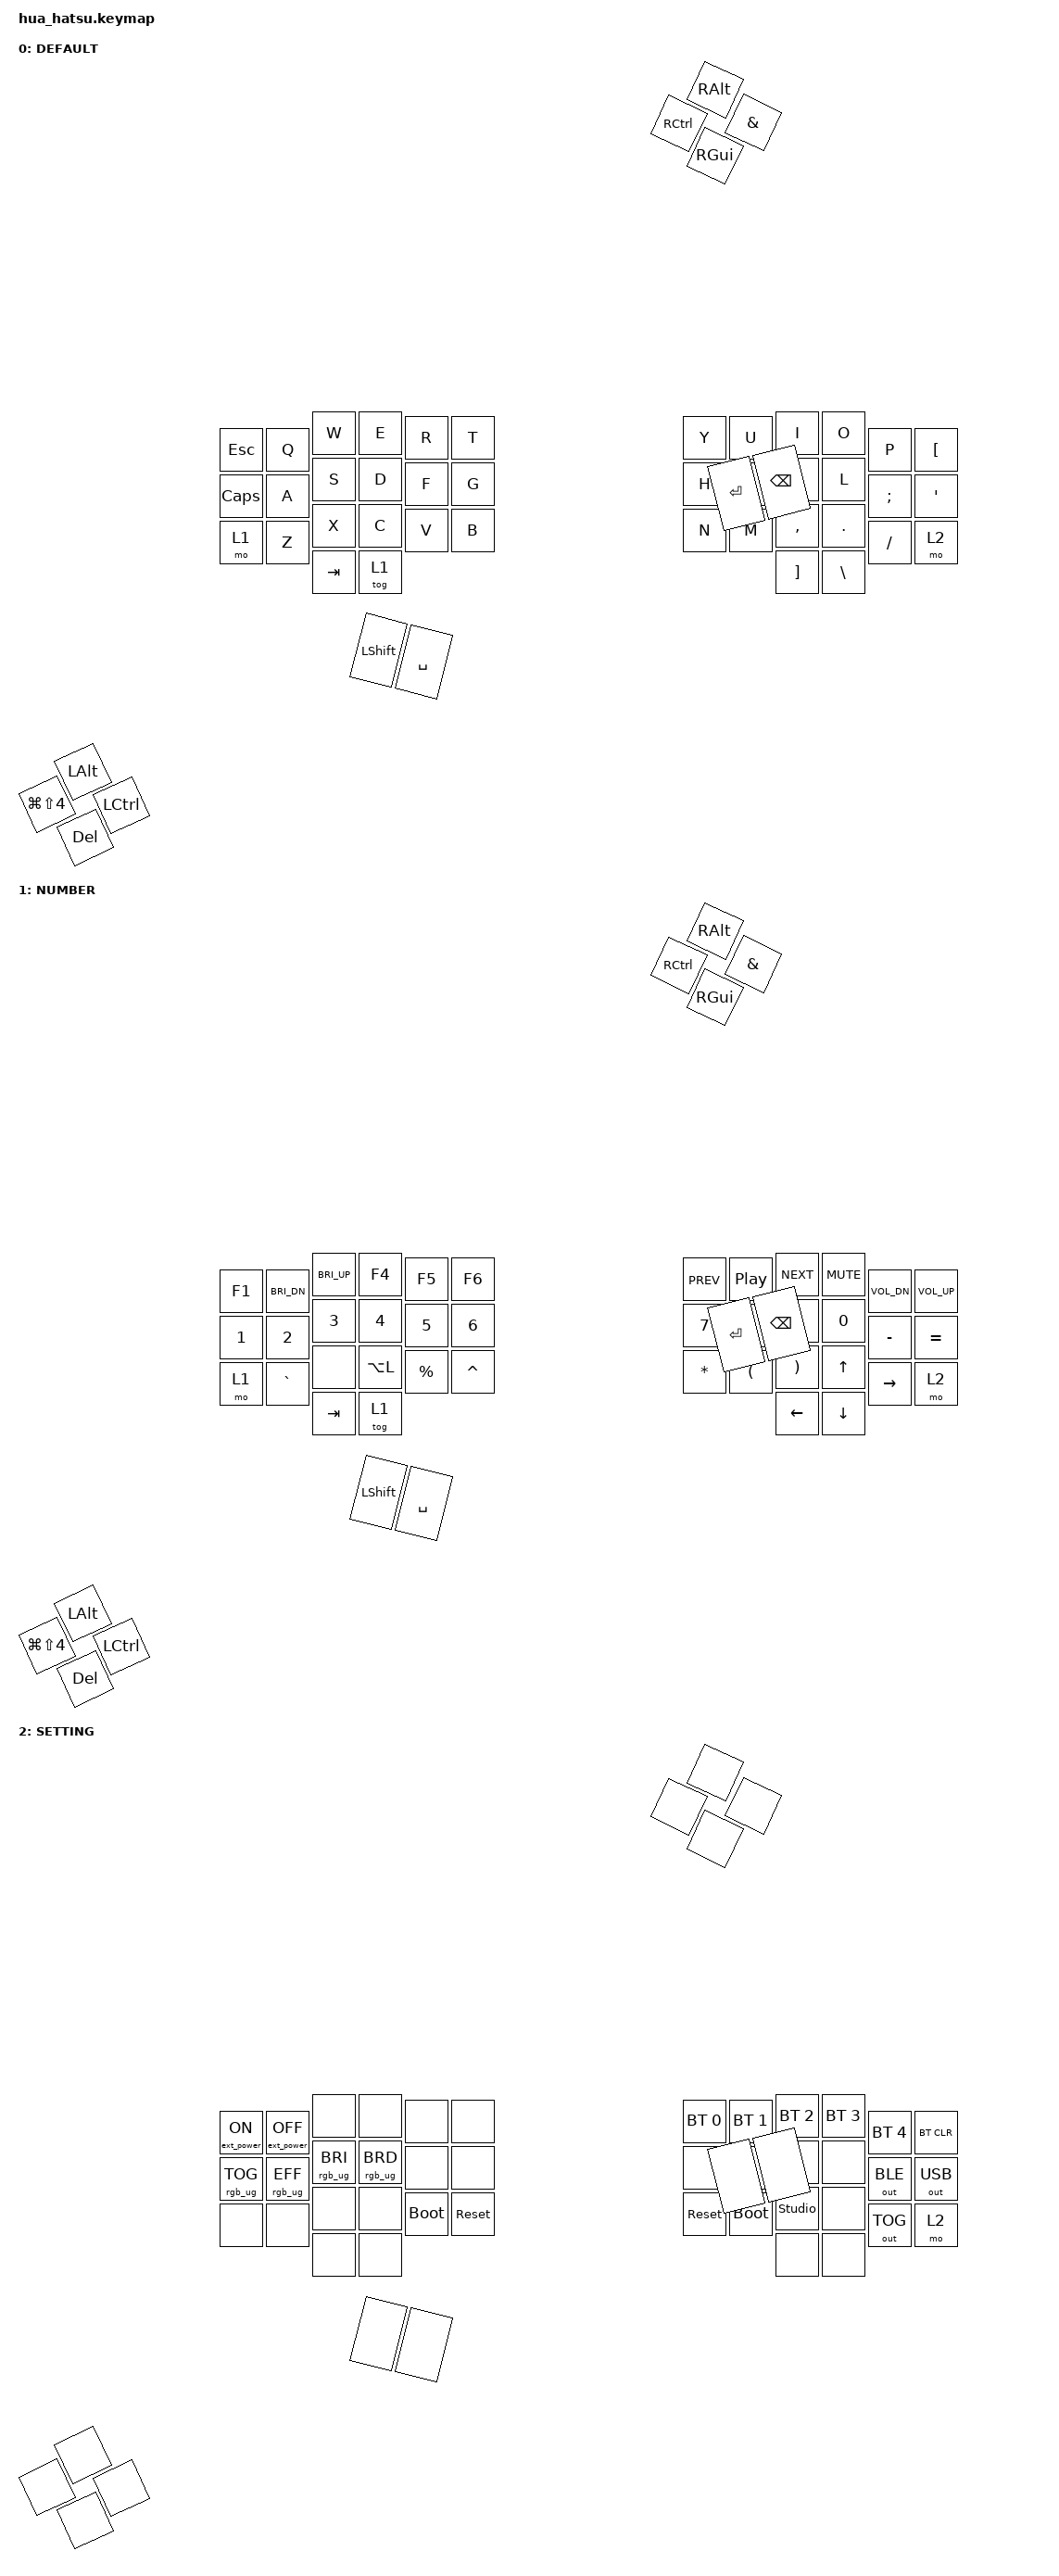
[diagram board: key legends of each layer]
/*
 * Copyright (c) 2020 The ZMK Contributors
 *
 * SPDX-License-Identifier: MIT
 */

#include <behaviors.dtsi>
#include <dt-bindings/zmk/keys.h>
#include <dt-bindings/zmk/bt.h>
#include <dt-bindings/zmk/outputs.h>
#include <dt-bindings/zmk/ext_power.h>
#include <dt-bindings/zmk/rgb.h>


#define DEFAULT 0
#define NUMBER 1
#define SETTING 2




/ {
    keymap {
       compatible = "zmk,keymap";
       default_layer {
            display-name = "DEFAULT";
            bindings = <
&kp ESC     &kp Q   &kp W           &kp E       &kp R       &kp T               &kp Y       &kp U       &kp I       &kp O       &kp P       &kp LBKT
&kp CAPS    &kp A   &kp S           &kp D       &kp F       &kp G               &kp H       &kp J       &kp K       &kp L       &kp SEMI    &kp SQT
&mo 1       &kp Z   &kp X           &kp C       &kp V       &kp B               &kp N       &kp M       &kp COMMA   &kp DOT     &kp FSLH    &mo 2
                    &kp TAB         &tog 1      &kp LSHIFT  &kp SPACE           &kp ENTER   &kp BSPC    &kp RBKT    &kp BSLH       
                    &kp LG(LS(N4))  &kp LALT    &kp LCTRL   &kp DEL             &kp RGUI    &kp RCTRL   &kp RALT    &kp AMPS    
            >;
        };

        number_layer {
            display-name = "NUMBER";
            bindings = <
&kp F1      &kp C_BRI_DN    &kp C_BRI_UP    &kp F4      &kp F5      &kp F6                         &kp C_PREV  &kp C_PP     &kp C_NEXT  &kp K_MUTE  &kp C_VOL_DN    &kp C_VOL_UP
&kp N1      &kp N2          &kp N3          &kp N4      &kp N5      &kp N6                         &kp N7      &kp N8       &kp N9      &kp N0      &kp MINUS       &kp EQUAL
&mo 1       &kp GRAVE       &none           &kp LA(L)  &kp PRCNT    &kp CARET                      &kp STAR    &kp LPAR     &kp RPAR    &kp UP      &kp RIGHT       &mo 2 
                            &kp TAB         &tog 1      &kp LSHIFT  &kp SPACE                      &kp ENTER   &kp BSPC    &kp LEFT    &kp DOWN
                            &kp LG(LS(N4))  &kp LALT    &kp LCTRL   &kp DEL                        &kp RGUI    &kp RCTRL   &kp RALT   &kp AMPS    	
            >;
        };

        setting_layer {
            display-name = "SETTING";
            bindings = <
&ext_power EP_ON    &ext_power EP_OFF   &none           &none           &none       &none               &bt BT_SEL 0    &bt BT_SEL 1    &bt BT_SEL 2    &bt BT_SEL 3    &bt BT_SEL 4    &bt BT_CLR
&rgb_ug RGB_TOG     &rgb_ug RGB_EFF     &rgb_ug RGB_BRI &rgb_ug RGB_BRD &none       &none               &none           &none           &none           &none           &out OUT_BLE    &out OUT_USB
&none               &none               &none           &none           &bootloader &sys_reset          &sys_reset      &bootloader     &studio_unlock  &none           &out OUT_TOG    &mo 2
                                        &none           &none           &none       &none               &none           &none           &none           &none
                                        &none           &none           &none       &none               &none           &none           &none           &none
          >;
         };
        extra1 {
            status = "reserved";
        };
        extra2 {
            status = "reserved";
        };
        extra3 {
            status = "reserved";
        };
    };
};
